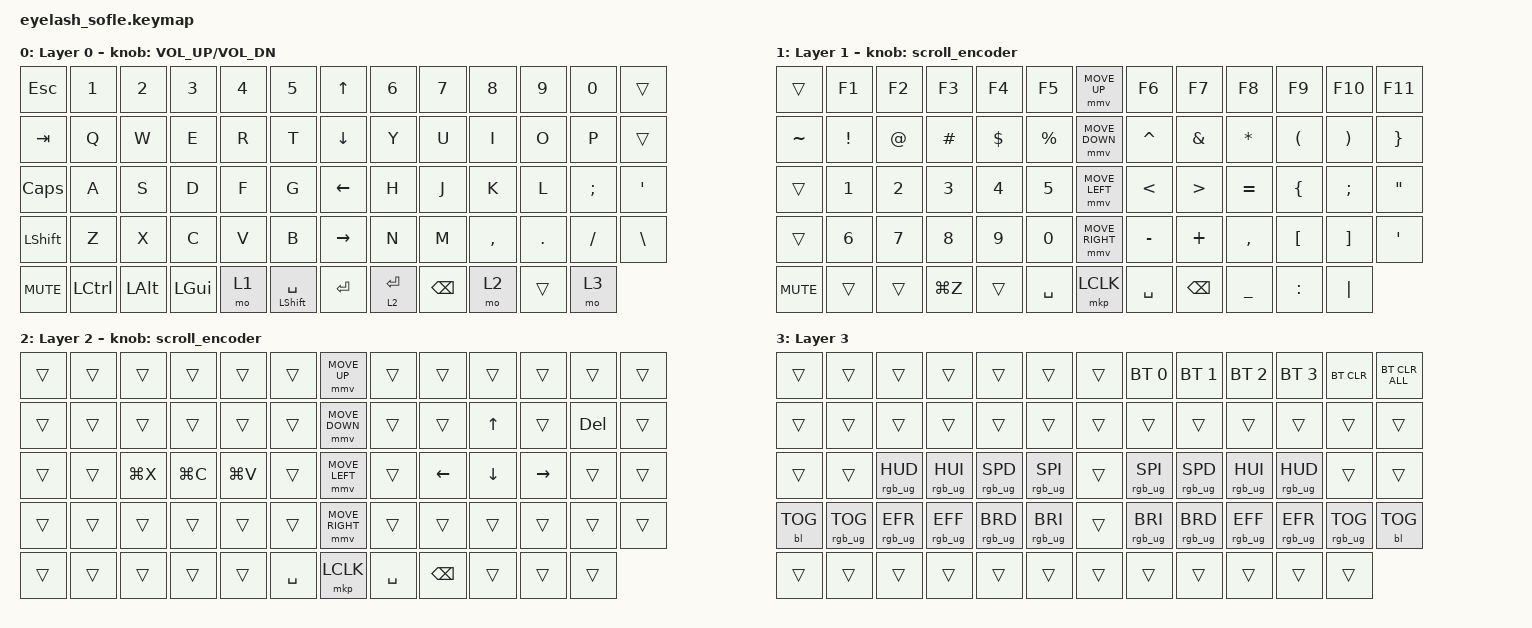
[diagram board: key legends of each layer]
#define ZMK_POINTING_DEFAULT_MOVE_VAL 1200  // 600
#define ZMK_POINTING_DEFAULT_SCRL_VAL 35    // 10

#include <input/processors.dtsi>
#include <zephyr/dt-bindings/input/input-event-codes.h>
#include <behaviors.dtsi>
#include <dt-bindings/zmk/backlight.h>
#include <dt-bindings/zmk/bt.h>
#include <dt-bindings/zmk/keys.h>
#include <dt-bindings/zmk/pointing.h>
#include <dt-bindings/zmk/pointing.h>
#include <dt-bindings/zmk/pointing.h>
#include <dt-bindings/zmk/rgb.h>

/ {
    zip_scroll_scaler: zip_scroll_scaler {
        compatible = "zmk,input-processor-scaler";
        #input-processor-cells = <2>;
        type = <INPUT_EV_REL>;
        codes = <INPUT_REL_WHEEL INPUT_REL_HWHEEL>;
        track-remainders;
    };
};

&mmv_input_listener { input-processors = <&zip_xy_scaler 2 1>; };

&msc_input_listener { input-processors = <&zip_scroll_scaler 2 1>; };

&msc {
    acceleration-exponent = <0>;      // 0
    time-to-max-speed-ms = <0>;       // 300
    delay-ms = <0>;                   // 0
};

&mmv {
    time-to-max-speed-ms = <400>;
    acceleration-exponent = <1>;
};

/ {
    scroll_encoder: scroll_encoder {
        compatible = "zmk,behavior-sensor-rotate";
        #sensor-binding-cells = <0>;
        bindings = <&msc SCRL_DOWN>, <&msc SCRL_UP>;

        tap-ms = <30>;
    };

    spaceshift: spaceshift {
        compatible = "zmk,behavior-hold-tap";
        label = "SPACESHIFT";
        bindings = <&kp>, <&kp>;

        #binding-cells = <2>;
        tapping-term-ms = <200>;
        flavor = "tap-preferred";
    };

    behaviors {
    };

    combos {
        compatible = "zmk,combos";

        command_backspace {
            bindings = <&kp LG(BACKSPACE)>;
            key-positions = <60 35>;
        };

        option_backspace {
            bindings = <&kp LA(BACKSPACE)>;
            key-positions = <60 34>;
        };
    };

    keymap {
        compatible = "zmk,keymap";

        lay_0 {
            bindings = <
&kp ESC     &kp NUMBER_1  &kp NUMBER_2  &kp NUMBER_3  &kp NUMBER_4  &kp N5                          &kp UP_ARROW     &kp NUMBER_6  &kp N7         &kp N8     &kp N9   &kp N0    &trans
&kp TAB     &kp Q         &kp W         &kp E         &kp R         &kp T                           &kp DOWN_ARROW   &kp Y         &kp U          &kp I      &kp O    &kp P     &trans
&kp CAPS    &kp A         &kp S         &kp D         &kp F         &kp G                           &kp LEFT_ARROW   &kp H         &kp J          &kp K      &kp L    &kp SEMI  &kp APOS
&kp LSHFT   &kp Z         &kp X         &kp C         &kp V         &kp B                           &kp RIGHT_ARROW  &kp N         &kp M          &kp COMMA  &kp DOT  &kp FSLH  &kp BACKSLASH
&kp C_MUTE  &kp LCTRL     &kp LEFT_ALT  &kp LEFT_GUI  &mo 1         &spaceshift LEFT_SHIFT SPACE    &kp ENTER        &lt 2 ENTER   &kp BACKSPACE  &mo 2      &trans   &mo 3
            >;

            sensor-bindings = <&inc_dec_kp C_VOLUME_UP C_VOL_DN>;
            display-name = "Layer 0";
        };

        lay_1 {
            bindings = <
&trans      &kp F1           &kp F2        &kp F3        &kp F4        &kp F5         &mmv MOVE_UP     &kp F6         &kp F7            &kp F8          &kp F9                &kp F10                &kp F11
&kp TILDE   &kp EXCLAMATION  &kp AT        &kp HASH      &kp DOLLAR    &kp PERCENT    &mmv MOVE_DOWN   &kp CARET      &kp AMPS          &kp ASTERISK    &kp LEFT_PARENTHESIS  &kp RIGHT_PARENTHESIS  &kp RIGHT_BRACE
&trans      &kp NUMBER_1     &kp NUMBER_2  &kp NUMBER_3  &kp NUMBER_4  &kp N5         &mmv MOVE_LEFT   &kp LESS_THAN  &kp GREATER_THAN  &kp EQUAL       &kp LEFT_BRACE        &kp SEMICOLON          &kp DOUBLE_QUOTES
&trans      &kp NUMBER_6     &kp NUMBER_7  &kp N8        &kp N9        &kp N0         &mmv MOVE_RIGHT  &kp MINUS      &kp PLUS          &kp COMMA       &kp LEFT_BRACKET      &kp RIGHT_BRACKET      &kp SINGLE_QUOTE
&kp C_MUTE  &trans           &trans        &kp LG(Z)     &trans        &kp SPACE      &mkp LCLK        &kp SPACE      &kp BACKSPACE     &kp UNDERSCORE  &kp COLON             &kp PIPE
            >;

            display-name = "Layer 1";
            sensor-bindings = <&scroll_encoder>;
        };

        lay_2 {
            bindings = <
&trans  &trans  &trans     &trans     &trans     &trans       &mmv MOVE_UP     &trans     &trans         &trans          &trans     &trans      &trans
&trans  &trans  &trans     &trans     &trans     &trans       &mmv MOVE_DOWN   &trans     &trans         &kp UP_ARROW    &trans     &kp DELETE  &trans
&trans  &trans  &kp LG(X)  &kp LG(C)  &kp LG(V)  &trans       &mmv MOVE_LEFT   &trans     &kp LEFT       &kp DOWN_ARROW  &kp RIGHT  &trans      &trans
&trans  &trans  &trans     &trans     &trans     &trans       &mmv MOVE_RIGHT  &trans     &trans         &trans          &trans     &trans      &trans
&trans  &trans  &trans     &trans     &trans     &kp SPACE    &mkp LCLK        &kp SPACE  &kp BACKSPACE  &trans          &trans     &trans
            >;

            sensor-bindings = <&scroll_encoder>;
            label = "Layer 2";
        };

        lay_3 {
            bindings = <
&trans      &trans           &trans           &trans           &trans           &trans             &trans  &bt BT_SEL 0     &bt BT_SEL 1     &bt BT_SEL 2     &bt BT_SEL 3     &bt BT_CLR       &bt BT_CLR_ALL
&trans      &trans           &trans           &trans           &trans           &trans             &trans  &trans           &trans           &trans           &trans           &trans           &trans
&trans      &trans           &rgb_ug RGB_HUD  &rgb_ug RGB_HUI  &rgb_ug RGB_SPD  &rgb_ug RGB_SPI    &trans  &rgb_ug RGB_SPI  &rgb_ug RGB_SPD  &rgb_ug RGB_HUI  &rgb_ug RGB_HUD  &trans           &trans
&bl BL_TOG  &rgb_ug RGB_TOG  &rgb_ug RGB_EFR  &rgb_ug RGB_EFF  &rgb_ug RGB_BRD  &rgb_ug RGB_BRI    &trans  &rgb_ug RGB_BRI  &rgb_ug RGB_BRD  &rgb_ug RGB_EFF  &rgb_ug RGB_EFR  &rgb_ug RGB_TOG  &bl BL_TOG
&trans      &trans           &trans           &trans           &trans           &trans             &trans  &trans           &trans           &trans           &trans           &trans
            >;

            label = "Layer 3";
        };
    };
};
